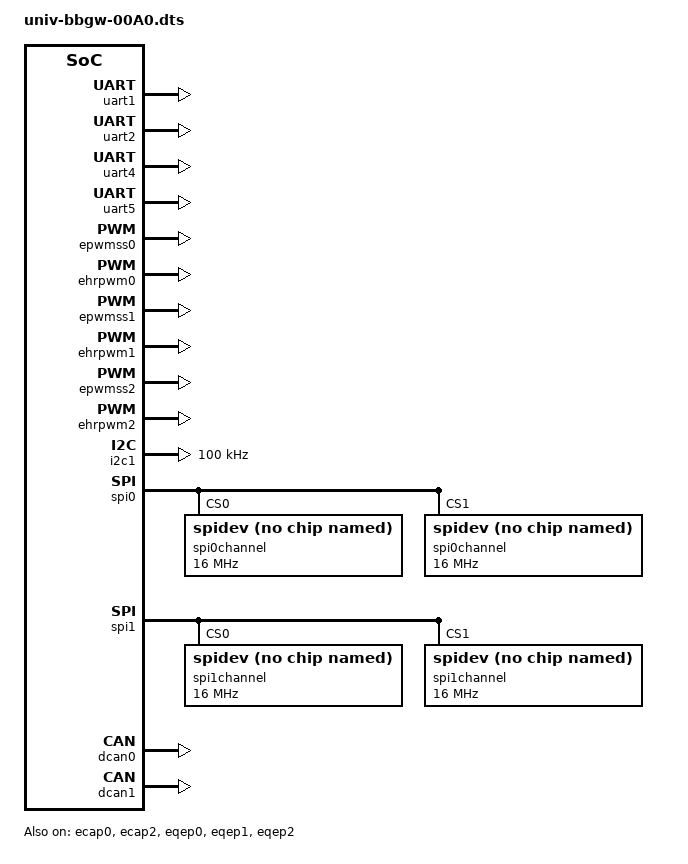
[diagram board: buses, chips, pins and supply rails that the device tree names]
/*
 * Copyright 2013
 * Charles Steinkuehler <charles@steinkuehler.net>
 * Robert Nelson <robertcnelson@gmail.com>
 * 
 * This program is free software; you can redistribute it and/or modify
 * it under the terms of the GNU General Public License as published by
 * the Free Software Foundation; either version 2 of the License, or
 * (at your option) any later version.
 * 
 * This program is distributed in the hope that it will be useful,
 * but WITHOUT ANY WARRANTY; without even the implied warranty of
 * MERCHANTABILITY or FITNESS FOR A PARTICULAR PURPOSE.  See the
 * GNU General Public License for more details.
 * 
 */

#include <dt-bindings/pinctrl/am33xx.h>

/dts-v1/;
/plugin/;

#include "bb-cape-universal.dtsi"

/ {
	compatible = "ti,beaglebone", "ti,beaglebone-black", "ti,beaglebone-green";

	/* identification */
	part-number = "univ-bbgw";
	version = "00A0";

	/* state the resources this cape uses */
	exclusive-use =

		/* "P8.1", GND */
		/* "P8.2", GND */
		/* "P8.3", emmc */
		/* "P8.4", emmc */
		/* "P8.5", emmc */
		/* "P8.6", emmc */
		"P8.7",
		"P8.8",
		"P8.9",
		"P8.10",
		/* "P8.11", */
		/* "P8.12", */
		"P8.13",
		/* "P8.14", */
		/* "P8.15", */
		/* "P8.16", */
		/* "P8.17", */
		/* "P8.18", */
		"P8.19",
		/* "P8.20", emmc */
		/* "P8.21", emmc */
		/* "P8.22", emmc */
		/* "P8.23", emmc */
		/* "P8.24", emmc */
		/* "P8.25", emmc */
		/* "P8.26", */
		"P8.27", /* hdmi */
		"P8.28", /* hdmi */
		"P8.29", /* hdmi */
		"P8.30", /* hdmi */
		"P8.31", /* hdmi */
		"P8.32", /* hdmi */
		"P8.33", /* hdmi */
		"P8.34", /* hdmi */
		"P8.35", /* hdmi */
		"P8.36", /* hdmi */
		"P8.37", /* hdmi */
		"P8.38", /* hdmi */
		"P8.39", /* hdmi */
		"P8.40", /* hdmi */
		"P8.41", /* hdmi */
		"P8.42", /* hdmi */
		"P8.43", /* hdmi */
		"P8.44", /* hdmi */
		"P8.45", /* hdmi */
		"P8.46", /* hdmi */

		/* "P9.1", GND */
		/* "P9.2", GND */
		/* "P9.3", 3.3V */
		/* "P9.4", 3.3V */
		/* "P9.5", VDD_5V */
		/* "P9.6", VDD_5V */
		/* "P9.7", SYS_5V */
		/* "P9.8", SYS_5V */
		/* "P9.9", PWR_BUT */
		/* "P9.10", RESETn */
		"P9.11",
		/* "P9.12", bt_en */
		"P9.13",
		"P9.14",
		"P9.15",
		"P9.16",
		"P9.17",
		"P9.18",
		/* "P9.19", I2C */
		/* "P9.20", I2C */
		"P9.21",
		"P9.22",
		"P9.23",
		"P9.24",
		"P9.25", /* Audio */
		"P9.26",
		"P9.27",
		/* "P9.28", Audio */
		/* "P9.29", Audio */
		/* "P9.30", */
		/* "P9.31", Audio */
		/* "P9.32", VADC */
		/* "P9.33", AIN4 */
		/* "P9.34", AGND */
		/* "P9.35", AIN6 */
		/* "P9.36", AIN5 */
		/* "P9.37", AIN2 */
		/* "P9.38", AIN3 */
		/* "P9.39", AIN0 */
		/* "P9.40", AIN1 */
		"P9.41",
		"P9.41.1",
		"P9.42",
		"P9.42.1",
		/* "P9.43", GND */
		/* "P9.44", GND */
		/* "P9.45", GND */
		/* "P9.46", GND */

		"uart1",
		"uart2",
		"uart4",
		"uart5", /* Conflicts with HDMI */

		"ehrpwm0A",
		"ehrpwm0B",
		"ehrpwm1A",
		"ehrpwm1B",
		"ehrpwm2A",
		"ehrpwm2B",

		"epwmss0",
		"ehrpwm0",
		"ecap0",
		"epwmss1",
		"ehrpwm1",
		"epwmss2",
		"ehrpwm2",
		"ecap2",

		"i2c1",
		"spi1",
		"spi0",
		"dcan0",
		"dcan1",

		"pru0",
		"pru1",
		"pruss";

	/************************/
	/* Pin Multiplexing */
	/************************/

	fragment@1 {
		target = <&ocp>;
		__overlay__ {

			/************************/
			/* P8 Header */
			/************************/

			/* P8_07 (ZCZ ball R7) */
			P8_07_pinmux {
				compatible = "bone-pinmux-helper";
				status = "okay";
				pinctrl-names = "default", "gpio", "gpio_pu", "gpio_pd", "gpio_input", "timer";
				pinctrl-0 = <&P8_07_default_pin>;
				pinctrl-1 = <&P8_07_gpio_pin>;
				pinctrl-2 = <&P8_07_gpio_pu_pin>;
				pinctrl-3 = <&P8_07_gpio_pd_pin>;
				pinctrl-4 = <&P8_07_gpio_input_pin>;
				pinctrl-5 = <&P8_07_timer_pin>;
			};

			/* P8_08 (ZCZ ball T7) */
			P8_08_pinmux {
				compatible = "bone-pinmux-helper";
				status = "okay";
				pinctrl-names = "default", "gpio", "gpio_pu", "gpio_pd", "gpio_input", "timer";
				pinctrl-0 = <&P8_08_default_pin>;
				pinctrl-1 = <&P8_08_gpio_pin>;
				pinctrl-2 = <&P8_08_gpio_pu_pin>;
				pinctrl-3 = <&P8_08_gpio_pd_pin>;
				pinctrl-4 = <&P8_08_gpio_input_pin>;
				pinctrl-5 = <&P8_08_timer_pin>;
			};

			/* P8_09 (ZCZ ball T6) */
			P8_09_pinmux {
				compatible = "bone-pinmux-helper";
				status = "okay";
				pinctrl-names = "default", "gpio", "gpio_pu", "gpio_pd", "gpio_input", "timer";
				pinctrl-0 = <&P8_09_default_pin>;
				pinctrl-1 = <&P8_09_gpio_pin>;
				pinctrl-2 = <&P8_09_gpio_pu_pin>;
				pinctrl-3 = <&P8_09_gpio_pd_pin>;
				pinctrl-4 = <&P8_09_gpio_input_pin>;
				pinctrl-5 = <&P8_09_timer_pin>;
			};

			/* P8_10 (ZCZ ball U6) */
			P8_10_pinmux {
				compatible = "bone-pinmux-helper";
				status = "okay";
				pinctrl-names = "default", "gpio", "gpio_pu", "gpio_pd", "gpio_input", "timer";
				pinctrl-0 = <&P8_10_default_pin>;
				pinctrl-1 = <&P8_10_gpio_pin>;
				pinctrl-2 = <&P8_10_gpio_pu_pin>;
				pinctrl-3 = <&P8_10_gpio_pd_pin>;
				pinctrl-4 = <&P8_10_gpio_input_pin>;
				pinctrl-5 = <&P8_10_timer_pin>;
			};

			/* P8_13 (ZCZ ball T10) */
			P8_13_pinmux {
				compatible = "bone-pinmux-helper";
				status = "okay";
				pinctrl-names = "default", "gpio", "gpio_pu", "gpio_pd", "gpio_input", "pwm";
				pinctrl-0 = <&P8_13_default_pin>;
				pinctrl-1 = <&P8_13_gpio_pin>;
				pinctrl-2 = <&P8_13_gpio_pu_pin>;
				pinctrl-3 = <&P8_13_gpio_pd_pin>;
				pinctrl-4 = <&P8_13_gpio_input_pin>;
				pinctrl-5 = <&P8_13_pwm_pin>;
			};

			/* P8_19 (ZCZ ball U10) */
			P8_19_pinmux {
				compatible = "bone-pinmux-helper";
				status = "okay";
				pinctrl-names = "default", "gpio", "gpio_pu", "gpio_pd", "gpio_input", "pwm";
				pinctrl-0 = <&P8_19_default_pin>;
				pinctrl-1 = <&P8_19_gpio_pin>;
				pinctrl-2 = <&P8_19_gpio_pu_pin>;
				pinctrl-3 = <&P8_19_gpio_pd_pin>;
				pinctrl-4 = <&P8_19_gpio_input_pin>;
				pinctrl-5 = <&P8_19_pwm_pin>;
			};

			/* P8_27 (ZCZ ball U5) hdmi */
			P8_27_pinmux {
				compatible = "bone-pinmux-helper";
				status = "okay";
				pinctrl-names = "default", "gpio", "gpio_pu", "gpio_pd", "gpio_input", "pruout", "pruin";
				pinctrl-0 = <&P8_27_default_pin>;
				pinctrl-1 = <&P8_27_gpio_pin>;
				pinctrl-2 = <&P8_27_gpio_pu_pin>;
				pinctrl-3 = <&P8_27_gpio_pd_pin>;
				pinctrl-4 = <&P8_27_gpio_input_pin>;
				pinctrl-5 = <&P8_27_pruout_pin>;
				pinctrl-6 = <&P8_27_pruin_pin>;
			};

			/* P8_28 (ZCZ ball V5) hdmi */
			P8_28_pinmux {
				compatible = "bone-pinmux-helper";
				status = "okay";
				pinctrl-names = "default", "gpio", "gpio_pu", "gpio_pd", "gpio_input", "pruout", "pruin";
				pinctrl-0 = <&P8_28_default_pin>;
				pinctrl-1 = <&P8_28_gpio_pin>;
				pinctrl-2 = <&P8_28_gpio_pu_pin>;
				pinctrl-3 = <&P8_28_gpio_pd_pin>;
				pinctrl-4 = <&P8_28_gpio_input_pin>;
				pinctrl-5 = <&P8_28_pruout_pin>;
				pinctrl-6 = <&P8_28_pruin_pin>;
			};

			/* P8_29 (ZCZ ball R5) hdmi */
			P8_29_pinmux {
				compatible = "bone-pinmux-helper";
				status = "okay";
				pinctrl-names = "default", "gpio", "gpio_pu", "gpio_pd", "gpio_input", "pruout", "pruin";
				pinctrl-0 = <&P8_29_default_pin>;
				pinctrl-1 = <&P8_29_gpio_pin>;
				pinctrl-2 = <&P8_29_gpio_pu_pin>;
				pinctrl-3 = <&P8_29_gpio_pd_pin>;
				pinctrl-4 = <&P8_29_gpio_input_pin>;
				pinctrl-5 = <&P8_29_pruout_pin>;
				pinctrl-6 = <&P8_29_pruin_pin>;
			};

			/* P8_30 (ZCZ ball R6) hdmi */
			P8_30_pinmux {
				compatible = "bone-pinmux-helper";
				status = "okay";
				pinctrl-names = "default", "gpio", "gpio_pu", "gpio_pd", "gpio_input", "pruout", "pruin";
				pinctrl-0 = <&P8_30_default_pin>;
				pinctrl-1 = <&P8_30_gpio_pin>;
				pinctrl-2 = <&P8_30_gpio_pu_pin>;
				pinctrl-3 = <&P8_30_gpio_pd_pin>;
				pinctrl-4 = <&P8_30_gpio_input_pin>;
				pinctrl-5 = <&P8_30_pruout_pin>;
				pinctrl-6 = <&P8_30_pruin_pin>;
			};

			/* P8_31 (ZCZ ball V4) hdmi */
			P8_31_pinmux {
				compatible = "bone-pinmux-helper";
				status = "okay";
				pinctrl-names = "default", "gpio", "gpio_pu", "gpio_pd", "gpio_input", "uart", "qep";
				pinctrl-0 = <&P8_31_default_pin>;
				pinctrl-1 = <&P8_31_gpio_pin>;
				pinctrl-2 = <&P8_31_gpio_pu_pin>;
				pinctrl-3 = <&P8_31_gpio_pd_pin>;
				pinctrl-4 = <&P8_31_gpio_input_pin>;
				pinctrl-5 = <&P8_31_uart_pin>;
				pinctrl-6 = <&P8_31_qep_pin>;
			};

			/* P8_32 (ZCZ ball T5) hdmi */
			P8_32_pinmux {
				compatible = "bone-pinmux-helper";
				status = "okay";
				pinctrl-names = "default", "gpio", "gpio_pu", "gpio_pd", "gpio_input", "qep";
				pinctrl-0 = <&P8_32_default_pin>;
				pinctrl-1 = <&P8_32_gpio_pin>;
				pinctrl-2 = <&P8_32_gpio_pu_pin>;
				pinctrl-3 = <&P8_32_gpio_pd_pin>;
				pinctrl-4 = <&P8_32_gpio_input_pin>;
				pinctrl-5 = <&P8_32_qep_pin>;
			};

			/* P8_33 (ZCZ ball V3) hdmi */
			P8_33_pinmux {
				compatible = "bone-pinmux-helper";
				status = "okay";
				pinctrl-names = "default", "gpio", "gpio_pu", "gpio_pd", "gpio_input", "qep";
				pinctrl-0 = <&P8_33_default_pin>;
				pinctrl-1 = <&P8_33_gpio_pin>;
				pinctrl-2 = <&P8_33_gpio_pu_pin>;
				pinctrl-3 = <&P8_33_gpio_pd_pin>;
				pinctrl-4 = <&P8_33_gpio_input_pin>;
				pinctrl-5 = <&P8_33_qep_pin>;
			};

			/* P8_34 (ZCZ ball U4) hdmi */
			P8_34_pinmux {
				compatible = "bone-pinmux-helper";
				status = "okay";
				pinctrl-names = "default", "gpio", "gpio_pu", "gpio_pd", "gpio_input", "pwm";
				pinctrl-0 = <&P8_34_default_pin>;
				pinctrl-1 = <&P8_34_gpio_pin>;
				pinctrl-2 = <&P8_34_gpio_pu_pin>;
				pinctrl-3 = <&P8_34_gpio_pd_pin>;
				pinctrl-4 = <&P8_34_gpio_input_pin>;
				pinctrl-5 = <&P8_34_pwm_pin>;
			};

			/* P8_35 (ZCZ ball V2) hdmi */
			P8_35_pinmux {
				compatible = "bone-pinmux-helper";
				status = "okay";
				pinctrl-names = "default", "gpio", "gpio_pu", "gpio_pd", "gpio_input", "qep";
				pinctrl-0 = <&P8_35_default_pin>;
				pinctrl-1 = <&P8_35_gpio_pin>;
				pinctrl-2 = <&P8_35_gpio_pu_pin>;
				pinctrl-3 = <&P8_35_gpio_pd_pin>;
				pinctrl-4 = <&P8_35_gpio_input_pin>;
				pinctrl-5 = <&P8_35_qep_pin>;
			};

			/* P8_36 (ZCZ ball U3) hdmi */
			P8_36_pinmux {
				compatible = "bone-pinmux-helper";
				status = "okay";
				pinctrl-names = "default", "gpio", "gpio_pu", "gpio_pd", "gpio_input", "pwm";
				pinctrl-0 = <&P8_36_default_pin>;
				pinctrl-1 = <&P8_36_gpio_pin>;
				pinctrl-2 = <&P8_36_gpio_pu_pin>;
				pinctrl-3 = <&P8_36_gpio_pd_pin>;
				pinctrl-4 = <&P8_36_gpio_input_pin>;
				pinctrl-5 = <&P8_36_pwm_pin>;
			};

			/* P8_37 (ZCZ ball U1) hdmi */
			P8_37_pinmux {
				compatible = "bone-pinmux-helper";
				status = "okay";
				pinctrl-names = "default", "gpio", "gpio_pu", "gpio_pd", "gpio_input", "uart", "pwm";
				pinctrl-0 = <&P8_37_default_pin>;
				pinctrl-1 = <&P8_37_gpio_pin>;
				pinctrl-2 = <&P8_37_gpio_pu_pin>;
				pinctrl-3 = <&P8_37_gpio_pd_pin>;
				pinctrl-4 = <&P8_37_gpio_input_pin>;
				pinctrl-5 = <&P8_37_uart_pin>;
				pinctrl-6 = <&P8_37_pwm_pin>;
			};

			/* P8_38 (ZCZ ball U2) hdmi */
			P8_38_pinmux {
				compatible = "bone-pinmux-helper";
				status = "okay";
				pinctrl-names = "default", "gpio", "gpio_pu", "gpio_pd", "gpio_input", "uart", "pwm";
				pinctrl-0 = <&P8_38_default_pin>;
				pinctrl-1 = <&P8_38_gpio_pin>;
				pinctrl-2 = <&P8_38_gpio_pu_pin>;
				pinctrl-3 = <&P8_38_gpio_pd_pin>;
				pinctrl-4 = <&P8_38_gpio_input_pin>;
				pinctrl-5 = <&P8_38_uart_pin>;
				pinctrl-6 = <&P8_38_pwm_pin>;
			};

			/* P8_39 (ZCZ ball T3) hdmi */
			P8_39_pinmux {
				compatible = "bone-pinmux-helper";
				status = "okay";
				pinctrl-names = "default", "gpio", "gpio_pu", "gpio_pd", "gpio_input", "qep", "pruout", "pruin";
				pinctrl-0 = <&P8_39_default_pin>;
				pinctrl-1 = <&P8_39_gpio_pin>;
				pinctrl-2 = <&P8_39_gpio_pu_pin>;
				pinctrl-3 = <&P8_39_gpio_pd_pin>;
				pinctrl-4 = <&P8_39_gpio_input_pin>;
				pinctrl-5 = <&P8_39_qep_pin>;
				pinctrl-6 = <&P8_39_pruout_pin>;
				pinctrl-7 = <&P8_39_pruin_pin>;
			};

			/* P8_40 (ZCZ ball T4) hdmi */
			P8_40_pinmux {
				compatible = "bone-pinmux-helper";
				status = "okay";
				pinctrl-names = "default", "gpio", "gpio_pu", "gpio_pd", "gpio_input", "qep", "pruout", "pruin";
				pinctrl-0 = <&P8_40_default_pin>;
				pinctrl-1 = <&P8_40_gpio_pin>;
				pinctrl-2 = <&P8_40_gpio_pu_pin>;
				pinctrl-3 = <&P8_40_gpio_pd_pin>;
				pinctrl-4 = <&P8_40_gpio_input_pin>;
				pinctrl-5 = <&P8_40_qep_pin>;
				pinctrl-6 = <&P8_40_pruout_pin>;
				pinctrl-7 = <&P8_40_pruin_pin>;
			};

			/* P8_41 (ZCZ ball T1) hdmi */
			P8_41_pinmux {
				compatible = "bone-pinmux-helper";
				status = "okay";
				pinctrl-names = "default", "gpio", "gpio_pu", "gpio_pd", "gpio_input", "qep", "pruout", "pruin";
				pinctrl-0 = <&P8_41_default_pin>;
				pinctrl-1 = <&P8_41_gpio_pin>;
				pinctrl-2 = <&P8_41_gpio_pu_pin>;
				pinctrl-3 = <&P8_41_gpio_pd_pin>;
				pinctrl-4 = <&P8_41_gpio_input_pin>;
				pinctrl-5 = <&P8_41_qep_pin>;
				pinctrl-6 = <&P8_41_pruout_pin>;
				pinctrl-7 = <&P8_41_pruin_pin>;
			};

			/* P8_42 (ZCZ ball T2) hdmi */
			P8_42_pinmux {
				compatible = "bone-pinmux-helper";
				status = "okay";
				pinctrl-names = "default", "gpio", "gpio_pu", "gpio_pd", "gpio_input", "qep", "pruout", "pruin";
				pinctrl-0 = <&P8_42_default_pin>;
				pinctrl-1 = <&P8_42_gpio_pin>;
				pinctrl-2 = <&P8_42_gpio_pu_pin>;
				pinctrl-3 = <&P8_42_gpio_pd_pin>;
				pinctrl-4 = <&P8_42_gpio_input_pin>;
				pinctrl-5 = <&P8_42_qep_pin>;
				pinctrl-6 = <&P8_42_pruout_pin>;
				pinctrl-7 = <&P8_42_pruin_pin>;
			};

			/* P8_43 (ZCZ ball R3) hdmi */
			P8_43_pinmux {
				compatible = "bone-pinmux-helper";
				status = "okay";
				pinctrl-names = "default", "gpio", "gpio_pu", "gpio_pd", "gpio_input", "pwm", "pruout", "pruin";
				pinctrl-0 = <&P8_43_default_pin>;
				pinctrl-1 = <&P8_43_gpio_pin>;
				pinctrl-2 = <&P8_43_gpio_pu_pin>;
				pinctrl-3 = <&P8_43_gpio_pd_pin>;
				pinctrl-4 = <&P8_43_gpio_input_pin>;
				pinctrl-5 = <&P8_43_pwm_pin>;
				pinctrl-6 = <&P8_43_pruout_pin>;
				pinctrl-7 = <&P8_43_pruin_pin>;
			};

			/* P8_44 (ZCZ ball R4) hdmi */
			P8_44_pinmux {
				compatible = "bone-pinmux-helper";
				status = "okay";
				pinctrl-names = "default", "gpio", "gpio_pu", "gpio_pd", "gpio_input", "pwm", "pruout", "pruin";
				pinctrl-0 = <&P8_44_default_pin>;
				pinctrl-1 = <&P8_44_gpio_pin>;
				pinctrl-2 = <&P8_44_gpio_pu_pin>;
				pinctrl-3 = <&P8_44_gpio_pd_pin>;
				pinctrl-4 = <&P8_44_gpio_input_pin>;
				pinctrl-5 = <&P8_44_pwm_pin>;
				pinctrl-6 = <&P8_44_pruout_pin>;
				pinctrl-7 = <&P8_44_pruin_pin>;
			};

			/* P8_45 (ZCZ ball R1) hdmi */
			P8_45_pinmux {
				compatible = "bone-pinmux-helper";
				status = "okay";
				pinctrl-names = "default", "gpio", "gpio_pu", "gpio_pd", "gpio_input", "pwm", "pruout", "pruin";
				pinctrl-0 = <&P8_45_default_pin>;
				pinctrl-1 = <&P8_45_gpio_pin>;
				pinctrl-2 = <&P8_45_gpio_pu_pin>;
				pinctrl-3 = <&P8_45_gpio_pd_pin>;
				pinctrl-4 = <&P8_45_gpio_input_pin>;
				pinctrl-5 = <&P8_45_pwm_pin>;
				pinctrl-6 = <&P8_45_pruout_pin>;
				pinctrl-7 = <&P8_45_pruin_pin>;
			};

			/* P8_46 (ZCZ ball R2) hdmi */
			P8_46_pinmux {
				compatible = "bone-pinmux-helper";
				status = "okay";
				pinctrl-names = "default", "gpio", "gpio_pu", "gpio_pd", "gpio_input", "pwm", "pruout", "pruin";
				pinctrl-0 = <&P8_46_default_pin>;
				pinctrl-1 = <&P8_46_gpio_pin>;
				pinctrl-2 = <&P8_46_gpio_pu_pin>;
				pinctrl-3 = <&P8_46_gpio_pd_pin>;
				pinctrl-4 = <&P8_46_gpio_input_pin>;
				pinctrl-5 = <&P8_46_pwm_pin>;
				pinctrl-6 = <&P8_46_pruout_pin>;
				pinctrl-7 = <&P8_46_pruin_pin>;
			};

			/************************/
			/* P9 Header */
			/************************/

			/* P9_01                GND */

			/* P9_02                GND */

			/* P9_03                3V3 */

			/* P9_04                3V3 */

			/* P9_05                VDD_5V */

			/* P9_06                VDD_5V */

			/* P9_07                SYS_5V */

			/* P9_08                SYS_5V */

			/* P9_09                PWR_BUT */

			/* P9_10                RSTn */

			/* P9_11 (ZCZ ball T17) */
			P9_11_pinmux {
				compatible = "bone-pinmux-helper";
				status = "okay";
				pinctrl-names = "default", "gpio", "gpio_pu", "gpio_pd", "gpio_input", "uart";
				pinctrl-0 = <&P9_11_default_pin>;
				pinctrl-1 = <&P9_11_gpio_pin>;
				pinctrl-2 = <&P9_11_gpio_pu_pin>;
				pinctrl-3 = <&P9_11_gpio_pd_pin>;
				pinctrl-4 = <&P9_11_gpio_input_pin>;
				pinctrl-5 = <&P9_11_uart_pin>;
			};

			/* P9_13 (ZCZ ball U17) */
			P9_13_pinmux {
				compatible = "bone-pinmux-helper";
				status = "okay";
				pinctrl-names = "default", "gpio", "gpio_pu", "gpio_pd", "gpio_input", "uart";
				pinctrl-0 = <&P9_13_default_pin>;
				pinctrl-1 = <&P9_13_gpio_pin>;
				pinctrl-2 = <&P9_13_gpio_pu_pin>;
				pinctrl-3 = <&P9_13_gpio_pd_pin>;
				pinctrl-4 = <&P9_13_gpio_input_pin>;
				pinctrl-5 = <&P9_13_uart_pin>;
			};

			/* P9_14 (ZCZ ball U14) */
			P9_14_pinmux {
				compatible = "bone-pinmux-helper";
				status = "okay";
				pinctrl-names = "default", "gpio", "gpio_pu", "gpio_pd", "gpio_input", "pwm";
				pinctrl-0 = <&P9_14_default_pin>;
				pinctrl-1 = <&P9_14_gpio_pin>;
				pinctrl-2 = <&P9_14_gpio_pu_pin>;
				pinctrl-3 = <&P9_14_gpio_pd_pin>;
				pinctrl-4 = <&P9_14_gpio_input_pin>;
				pinctrl-5 = <&P9_14_pwm_pin>;
			};

			/* P9_15 (ZCZ ball R13) */
			P9_15_pinmux {
				compatible = "bone-pinmux-helper";
				status = "okay";
				pinctrl-names = "default", "gpio", "gpio_pu", "gpio_pd", "gpio_input", "pwm";
				pinctrl-0 = <&P9_15_default_pin>;
				pinctrl-1 = <&P9_15_gpio_pin>;
				pinctrl-2 = <&P9_15_gpio_pu_pin>;
				pinctrl-3 = <&P9_15_gpio_pd_pin>;
				pinctrl-4 = <&P9_15_gpio_input_pin>;
				pinctrl-5 = <&P9_15_pwm_pin>;
			};

			/* P9_16 (ZCZ ball T14) */
			P9_16_pinmux {
				compatible = "bone-pinmux-helper";
				status = "okay";
				pinctrl-names = "default", "gpio", "gpio_pu", "gpio_pd", "gpio_input", "pwm";
				pinctrl-0 = <&P9_16_default_pin>;
				pinctrl-1 = <&P9_16_gpio_pin>;
				pinctrl-2 = <&P9_16_gpio_pu_pin>;
				pinctrl-3 = <&P9_16_gpio_pd_pin>;
				pinctrl-4 = <&P9_16_gpio_input_pin>;
				pinctrl-5 = <&P9_16_pwm_pin>;
			};

			/* P9_17 (ZCZ ball A16) */
			P9_17_pinmux {
				compatible = "bone-pinmux-helper";
				status = "okay";
				pinctrl-names = "default", "gpio", "gpio_pu", "gpio_pd", "gpio_input", "spi_cs", "i2c", "pwm", "pru_uart";
				pinctrl-0 = <&P9_17_default_pin>;
				pinctrl-1 = <&P9_17_gpio_pin>;
				pinctrl-2 = <&P9_17_gpio_pu_pin>;
				pinctrl-3 = <&P9_17_gpio_pd_pin>;
				pinctrl-4 = <&P9_17_gpio_input_pin>;
				pinctrl-5 = <&P9_17_spi_cs_pin>;
				pinctrl-6 = <&P9_17_i2c_pin>;
				pinctrl-7 = <&P9_17_pwm_pin>;
				pinctrl-8 = <&P9_17_pru_uart_pin>;
			};

			/* P9_18 (ZCZ ball B16) */
			P9_18_pinmux {
				compatible = "bone-pinmux-helper";
				status = "okay";
				pinctrl-names = "default", "gpio", "gpio_pu", "gpio_pd", "gpio_input", "spi", "i2c", "pwm", "pru_uart";
				pinctrl-0 = <&P9_18_default_pin>;
				pinctrl-1 = <&P9_18_gpio_pin>;
				pinctrl-2 = <&P9_18_gpio_pu_pin>;
				pinctrl-3 = <&P9_18_gpio_pd_pin>;
				pinctrl-4 = <&P9_18_gpio_input_pin>;
				pinctrl-5 = <&P9_18_spi_pin>;
				pinctrl-6 = <&P9_18_i2c_pin>;
				pinctrl-7 = <&P9_18_pwm_pin>;
				pinctrl-8 = <&P9_18_pru_uart_pin>;
			};

			/* Leave the cape I2C EEPROM bus alone */
			/* P9_19 (ZCZ ball D17) I2C */
			/* P9_20 (ZCZ ball D18) I2C */

			/* P9_21 (ZCZ ball B17) */
			P9_21_pinmux {
				compatible = "bone-pinmux-helper";
				status = "okay";
				pinctrl-names = "default", "gpio", "gpio_pu", "gpio_pd", "gpio_input", "spi", "uart", "i2c", "pwm", "pru_uart";
				pinctrl-0 = <&P9_21_default_pin>;
				pinctrl-1 = <&P9_21_gpio_pin>;
				pinctrl-2 = <&P9_21_gpio_pu_pin>;
				pinctrl-3 = <&P9_21_gpio_pd_pin>;
				pinctrl-4 = <&P9_21_gpio_input_pin>;
				pinctrl-5 = <&P9_21_spi_pin>;
				pinctrl-6 = <&P9_21_uart_pin>;
				pinctrl-7 = <&P9_21_i2c_pin>;
				pinctrl-8 = <&P9_21_pwm_pin>;
				pinctrl-9 = <&P9_21_pru_uart_pin>;
			};

			/* P9_22 (ZCZ ball A17) */
			P9_22_pinmux {
				compatible = "bone-pinmux-helper";
				status = "okay";
				pinctrl-names = "default", "gpio", "gpio_pu", "gpio_pd", "gpio_input", "spi_sclk", "uart", "i2c", "pwm", "pru_uart";
				pinctrl-0 = <&P9_22_default_pin>;
				pinctrl-1 = <&P9_22_gpio_pin>;
				pinctrl-2 = <&P9_22_gpio_pu_pin>;
				pinctrl-3 = <&P9_22_gpio_pd_pin>;
				pinctrl-4 = <&P9_22_gpio_input_pin>;
				pinctrl-5 = <&P9_22_spi_sclk_pin>;
				pinctrl-6 = <&P9_22_uart_pin>;
				pinctrl-7 = <&P9_22_i2c_pin>;
				pinctrl-8 = <&P9_22_pwm_pin>;
				pinctrl-9 = <&P9_22_pru_uart_pin>;
			};

			/* P9_23 (ZCZ ball V14) */
			P9_23_pinmux {
				compatible = "bone-pinmux-helper";
				status = "okay";
				pinctrl-names = "default", "gpio", "gpio_pu", "gpio_pd", "gpio_input", "pwm";
				pinctrl-0 = <&P9_23_default_pin>;
				pinctrl-1 = <&P9_23_gpio_pin>;
				pinctrl-2 = <&P9_23_gpio_pu_pin>;
				pinctrl-3 = <&P9_23_gpio_pd_pin>;
				pinctrl-4 = <&P9_23_gpio_input_pin>;
				pinctrl-5 = <&P9_23_pwm_pin>;
			};

			/* P9_24 (ZCZ ball D15) */
			P9_24_pinmux {
				compatible = "bone-pinmux-helper";
				status = "okay";
				pinctrl-names = "default", "gpio", "gpio_pu", "gpio_pd", "gpio_input", "uart", "can", "i2c", "pru_uart", "pruin";
				pinctrl-0 = <&P9_24_default_pin>;
				pinctrl-1 = <&P9_24_gpio_pin>;
				pinctrl-2 = <&P9_24_gpio_pu_pin>;
				pinctrl-3 = <&P9_24_gpio_pd_pin>;
				pinctrl-4 = <&P9_24_gpio_input_pin>;
				pinctrl-5 = <&P9_24_uart_pin>;
				pinctrl-6 = <&P9_24_can_pin>;
				pinctrl-7 = <&P9_24_i2c_pin>;
				pinctrl-8 = <&P9_24_pru_uart_pin>;
				pinctrl-9 = <&P9_24_pruin_pin>;
			};

			/* P9_25 (ZCZ ball A14) audio */
			P9_25_pinmux {
				compatible = "bone-pinmux-helper";
				status = "okay";
				pinctrl-names = "default", "gpio", "gpio_pu", "gpio_pd", "gpio_input", "qep", "pruout", "pruin";
				pinctrl-0 = <&P9_25_default_pin>;
				pinctrl-1 = <&P9_25_gpio_pin>;
				pinctrl-2 = <&P9_25_gpio_pu_pin>;
				pinctrl-3 = <&P9_25_gpio_pd_pin>;
				pinctrl-4 = <&P9_25_gpio_input_pin>;
				pinctrl-5 = <&P9_25_qep_pin>;
				pinctrl-6 = <&P9_25_pruout_pin>;
				pinctrl-7 = <&P9_25_pruin_pin>;
			};

			/* P9_26 (ZCZ ball D16) */
			P9_26_pinmux {
				compatible = "bone-pinmux-helper";
				status = "okay";
				pinctrl-names = "default", "gpio", "gpio_pu", "gpio_pd", "gpio_input", "uart", "can", "i2c", "pru_uart", "pruin";
				pinctrl-0 = <&P9_26_default_pin>;
				pinctrl-1 = <&P9_26_gpio_pin>;
				pinctrl-2 = <&P9_26_gpio_pu_pin>;
				pinctrl-3 = <&P9_26_gpio_pd_pin>;
				pinctrl-4 = <&P9_26_gpio_input_pin>;
				pinctrl-5 = <&P9_26_uart_pin>;
				pinctrl-6 = <&P9_26_can_pin>;
				pinctrl-7 = <&P9_26_i2c_pin>;
				pinctrl-8 = <&P9_26_pru_uart_pin>;
				pinctrl-9 = <&P9_26_pruin_pin>;
			};

			/* P9_27 (ZCZ ball C13) */
			P9_27_pinmux {
				compatible = "bone-pinmux-helper";
				status = "okay";
				pinctrl-names = "default", "gpio", "gpio_pu", "gpio_pd", "gpio_input", "qep", "pruout", "pruin";
				pinctrl-0 = <&P9_27_default_pin>;
				pinctrl-1 = <&P9_27_gpio_pin>;
				pinctrl-2 = <&P9_27_gpio_pu_pin>;
				pinctrl-3 = <&P9_27_gpio_pd_pin>;
				pinctrl-4 = <&P9_27_gpio_input_pin>;
				pinctrl-5 = <&P9_27_qep_pin>;
				pinctrl-6 = <&P9_27_pruout_pin>;
				pinctrl-7 = <&P9_27_pruin_pin>;
			};

			/* P9_32                VADC */

			/* P9_33 (ZCZ ball C8)  AIN4         */

			/* P9_34                AGND */

			/* P9_35 (ZCZ ball A8)  AIN6         */

			/* P9_36 (ZCZ ball B8)  AIN5         */

			/* P9_37 (ZCZ ball B7)  AIN2         */

			/* P9_38 (ZCZ ball A7)  AIN3         */

			/* P9_39 (ZCZ ball B6)  AIN0         */

			/* P9_40 (ZCZ ball C7)  AIN1         */

			/* P9_41 (ZCZ ball D14) */
			P9_41_pinmux {
				compatible = "bone-pinmux-helper";
				status = "okay";
				pinctrl-names = "default", "gpio", "gpio_pu", "gpio_pd", "gpio_input", "timer", "pruin";
				pinctrl-0 = <&P9_41_default_pin>;
				pinctrl-1 = <&P9_41_gpio_pin>;
				pinctrl-2 = <&P9_41_gpio_pu_pin>;
				pinctrl-3 = <&P9_41_gpio_pd_pin>;
				pinctrl-4 = <&P9_41_gpio_input_pin>;
				pinctrl-5 = <&P9_41_timer_pin>;
				pinctrl-6 = <&P9_41_pruin_pin>;
			};

			/* P9_41.1 */
			/* P9_91 (ZCZ ball D13) */
			P9_91_pinmux {
				compatible = "bone-pinmux-helper";
				status = "okay";
				pinctrl-names = "default", "gpio", "gpio_pu", "gpio_pd", "gpio_input", "qep", "pruout", "pruin";
				pinctrl-0 = <&P9_91_default_pin>;
				pinctrl-1 = <&P9_91_gpio_pin>;
				pinctrl-2 = <&P9_91_gpio_pu_pin>;
				pinctrl-3 = <&P9_91_gpio_pd_pin>;
				pinctrl-4 = <&P9_91_gpio_input_pin>;
				pinctrl-5 = <&P9_91_qep_pin>;
				pinctrl-6 = <&P9_91_pruout_pin>;
				pinctrl-7 = <&P9_91_pruin_pin>;
			};

			/* P9_42 (ZCZ ball C18) */
			P9_42_pinmux {
				compatible = "bone-pinmux-helper";
				status = "okay";
				pinctrl-names = "default", "gpio", "gpio_pu", "gpio_pd", "gpio_input", "spi_cs", "spi_sclk", "uart", "pwm", "pru_ecap";
				pinctrl-0 = <&P9_42_default_pin>;
				pinctrl-1 = <&P9_42_gpio_pin>;
				pinctrl-2 = <&P9_42_gpio_pu_pin>;
				pinctrl-3 = <&P9_42_gpio_pd_pin>;
				pinctrl-4 = <&P9_42_gpio_input_pin>;
				pinctrl-5 = <&P9_42_spi_cs_pin>;
				pinctrl-6 = <&P9_42_spi_sclk_pin>;
				pinctrl-7 = <&P9_42_uart_pin>;
				pinctrl-8 = <&P9_42_pwm_pin>;
				pinctrl-9 = <&P9_42_pru_ecap_pin>;
			};

			/* P9_42.1 */
			/* P9_92 (ZCZ ball B12) */
			P9_92_pinmux {
				compatible = "bone-pinmux-helper";
				status = "okay";
				pinctrl-names = "default", "gpio", "gpio_pu", "gpio_pd", "gpio_input", "qep", "pruout", "pruin";
				pinctrl-0 = <&P9_92_default_pin>;
				pinctrl-1 = <&P9_92_gpio_pin>;
				pinctrl-2 = <&P9_92_gpio_pu_pin>;
				pinctrl-3 = <&P9_92_gpio_pd_pin>;
				pinctrl-4 = <&P9_92_gpio_input_pin>;
				pinctrl-5 = <&P9_92_qep_pin>;
				pinctrl-6 = <&P9_92_pruout_pin>;
				pinctrl-7 = <&P9_92_pruin_pin>;
			};

			/* P9_43                GND */

			/* P9_44                GND */

			/* P9_45                GND */

			/* P9_46                GND */
		};
	};

	fragment@2 {
		target = <&ocp>;
		__overlay__ {
			cape-universal {
				compatible = "gpio-of-helper";
				status = "okay";
				pinctrl-names = "default";
				pinctrl-0 = <>;

				P8_07 {
					gpio-name = "P8_07";
					gpio = <&gpio2 2 0>;
					input;
					dir-changeable;
				};

				P8_08 {
					gpio-name = "P8_08";
					gpio = <&gpio2 3 0>;
					input;
					dir-changeable;
				};

				P8_09 {
					gpio-name = "P8_09";
					gpio = <&gpio2 5 0>;
					input;
					dir-changeable;
				};

				P8_10 {
					gpio-name = "P8_10";
					gpio = <&gpio2 4 0>;
					input;
					dir-changeable;
				};

				P8_13 {
					gpio-name = "P8_13";
					gpio = <&gpio0 23 0>;
					input;
					dir-changeable;
				};

				P8_19 {
					gpio-name = "P8_19";
					gpio = <&gpio0 22 0>;
					input;
					dir-changeable;
				};

				P8_27 {
					gpio-name = "P8_27";
					gpio = <&gpio2 22 0>;
					input;
					dir-changeable;
				};

				P8_28 {
					gpio-name = "P8_28";
					gpio = <&gpio2 24 0>;
					input;
					dir-changeable;
				};

				P8_29 {
					gpio-name = "P8_29";
					gpio = <&gpio2 23 0>;
					input;
					dir-changeable;
				};

				P8_30 {
					gpio-name = "P8_30";
					gpio = <&gpio2 25 0>;
					input;
					dir-changeable;
				};

				P8_31 {
					gpio-name = "P8_31";
					gpio = <&gpio0 10 0>;
					input;
					dir-changeable;
				};

				P8_32 {
					gpio-name = "P8_32";
					gpio = <&gpio0 11 0>;
					input;
					dir-changeable;
				};

				P8_33 {
					gpio-name = "P8_33";
					gpio = <&gpio0 9 0>;
					input;
					dir-changeable;
				};

				P8_34 {
					gpio-name = "P8_34";
					gpio = <&gpio2 17 0>;
					input;
					dir-changeable;
				};

				P8_35 {
					gpio-name = "P8_35";
					gpio = <&gpio0 8 0>;
					input;
					dir-changeable;
				};

				P8_36 {
					gpio-name = "P8_36";
					gpio = <&gpio2 16 0>;
					input;
					dir-changeable;
				};

				P8_37 {
					gpio-name = "P8_37";
					gpio = <&gpio2 14 0>;
					input;
					dir-changeable;
				};

				P8_38 {
					gpio-name = "P8_38";
					gpio = <&gpio2 15 0>;
					input;
					dir-changeable;
				};

				P8_39 {
					gpio-name = "P8_39";
					gpio = <&gpio2 12 0>;
					input;
					dir-changeable;
				};

				P8_40 {
					gpio-name = "P8_40";
					gpio = <&gpio2 13 0>;
					input;
					dir-changeable;
				};

				P8_41 {
					gpio-name = "P8_41";
					gpio = <&gpio2 10 0>;
					input;
					dir-changeable;
				};

				P8_42 {
					gpio-name = "P8_42";
					gpio = <&gpio2 11 0>;
					input;
					dir-changeable;
				};

				P8_43 {
					gpio-name = "P8_43";
					gpio = <&gpio2 8 0>;
					input;
					dir-changeable;
				};

				P8_44 {
					gpio-name = "P8_44";
					gpio = <&gpio2 9 0>;
					input;
					dir-changeable;
				};

				P8_45 {
					gpio-name = "P8_45";
					gpio = <&gpio2 6 0>;
					input;
					dir-changeable;
				};

				P8_46 {
					gpio-name = "P8_46";
					gpio = <&gpio2 7 0>;
					input;
					dir-changeable;
				};

				P9_11 {
					gpio-name = "P9_11";
					gpio = <&gpio0 30 0>;
					input;
					dir-changeable;
				};

				P9_13 {
					gpio-name = "P9_13";
					gpio = <&gpio0 31 0>;
					input;
					dir-changeable;
				};

				P9_14 {
					gpio-name = "P9_14";
					gpio = <&gpio1 18 0>;
					input;
					dir-changeable;
				};

				P9_15 {
					gpio-name = "P9_15";
					gpio = <&gpio1 16 0>;
					input;
					dir-changeable;
				};

				P9_16 {
					gpio-name = "P9_16";
					gpio = <&gpio1 19 0>;
					input;
					dir-changeable;
				};

				P9_17 {
					gpio-name = "P9_17";
					gpio = <&gpio0 5 0>;
					input;
					dir-changeable;
				};

				P9_18 {
					gpio-name = "P9_18";
					gpio = <&gpio0 4 0>;
					input;
					dir-changeable;
				};

				P9_21 {
					gpio-name = "P9_21";
					gpio = <&gpio0 3 0>;
					input;
					dir-changeable;
				};

				P9_22 {
					gpio-name = "P9_22";
					gpio = <&gpio0 2 0>;
					input;
					dir-changeable;
				};

				P9_23 {
					gpio-name = "P9_23";
					gpio = <&gpio1 17 0>;
					input;
					dir-changeable;
				};

				P9_24 {
					gpio-name = "P9_24";
					gpio = <&gpio0 15 0>;
					input;
					dir-changeable;
				};

				P9_25 {
					gpio-name = "P9_25";
					gpio = <&gpio3 21 0>;
					input;
					dir-changeable;
				};

				P9_26 {
					gpio-name = "P9_26";
					gpio = <&gpio0 14 0>;
					input;
					dir-changeable;
				};

				P9_27 {
					gpio-name = "P9_27";
					gpio = <&gpio3 19 0>;
					input;
					dir-changeable;
				};

				P9_41 {
					gpio-name = "P9_41";
					gpio = <&gpio0 20 0>;
					input;
					dir-changeable;
				};

				P9_91 {
					gpio-name = "P9_91";
					gpio = <&gpio3 20 0>;
					input;
					dir-changeable;
				};

				P9_42 {
					gpio-name = "P9_42";
					gpio = <&gpio0 7 0>;
					input;
					dir-changeable;
				};

				P9_92 {
					gpio-name = "P9_92";
					gpio = <&gpio3 18 0>;
					input;
					dir-changeable;
				};
			};
		};
	};

	/************************/
	/* UARTs */
	/************************/

	fragment@10 {
		target = <&uart1>;
		__overlay__ {
			status = "okay";
			pinctrl-names = "default";
			pinctrl-0 = <>;
		};
	};

	fragment@11 {
		target = <&uart2>;
		__overlay__ {
			status = "okay";
			pinctrl-names = "default";
			pinctrl-0 = <>;
		};
	};

	fragment@12 {
		target = <&uart4>;
		__overlay__ {
			status = "okay";
			pinctrl-names = "default";
			pinctrl-0 = <>;
		};
	};

	/* UART 5 only available on LCD/HDMI pins */
	fragment@13 {
		target = <&uart5>;
		__overlay__ {
			status = "okay";
			pinctrl-names = "default";
			pinctrl-0 = <>;
		};
	};

	/************************/
	/* Timers / PWM */
	/************************/

	fragment@20 {
		target = <&epwmss0>;
		__overlay__ {
			status = "okay";
		};
	};

	fragment@21 {
		target = <&ehrpwm0>;
		__overlay__ {
			status = "okay";
			pinctrl-names = "default";
			pinctrl-0 = <>;
		};
	};

	fragment@22 {
		target = <&ecap0>;
		__overlay__ {
			status = "okay";
			pinctrl-names = "default";
			pinctrl-0 = <>;
		};
	};

	fragment@23 {
		target = <&epwmss1>;
		__overlay__ {
			status = "okay";
		};
	};

	fragment@24 {
		target = <&ehrpwm1>;
		__overlay__ {
			status = "okay";
			pinctrl-names = "default";
			pinctrl-0 = <>;
		};
	};

	fragment@25 {
		target = <&epwmss2>;
		__overlay__ {
			status = "okay";
		};
	};

	fragment@26 {
		target = <&ehrpwm2>;
		__overlay__ {
			status = "okay";
			pinctrl-names = "default";
			pinctrl-0 = <>;
		};
	};

	fragment@27 {
		target = <&ecap2>;
		__overlay__ {
			status = "okay";
			pinctrl-names = "default";
			pinctrl-0 = <>;
		};
	};

	/************************/
	/* I2C / SPI */
	/************************/

	fragment@30 {
		target = <&i2c1>; /* i2c1 is numbered correctly */
		__overlay__ {
			status = "okay";
			pinctrl-names = "default";
			pinctrl-0 = <>; 

			/* this is the configuration part */
			clock-frequency = <100000>;

			#address-cells = <1>;
			#size-cells = <0>;

			/* add any i2c devices on the bus here */

			// commented out example of a touchscreen (taken from BB-BONE-LCD7-01-00A4) */
			// maxtouch@4a {
			// compatible = "mXT224";
			// reg = <0x4a>;
			// interrupt-parent = <&gpio3>;
			// interrupts = <19 0x0>;
			// atmel,irq-gpio = <&gpio3 19 0>;
			// };
		};
	};

	fragment@31 {
		target = <&spi0>;
		__overlay__ {
			#address-cells = <1>;
			#size-cells = <0>;

			status = "okay";
			pinctrl-names = "default";
			pinctrl-0 = <>; 

			spi0channel@0 {
				#address-cells = <1>;
				#size-cells = <0>;

				compatible = "spidev";

				reg = <0>;
				spi-max-frequency = <16000000>;
				spi-cpha;
			};


			spi0channel@1 {
				#address-cells = <1>;
				#size-cells = <0>;

				compatible = "spidev";

				reg = <1>;
				spi-max-frequency = <16000000>;
			};
		};
	};

	fragment@32 {
		target = <&spi1>;
		__overlay__ {
			status = "okay";
			pinctrl-names = "default";
			pinctrl-0 = <>; 

			#address-cells = <1>;
			#size-cells = <0>;

			spi1channel@0 {
				#address-cells = <1>;
				#size-cells = <0>;

				compatible = "spidev";

				reg = <0>;
				spi-max-frequency = <16000000>;
				spi-cpha;
			};

			spi1channel@1 {
				#address-cells = <1>;
				#size-cells = <0>;

				compatible = "spidev";

				reg = <1>;
				spi-max-frequency = <16000000>;
			};
		};
	};

	fragment@33 {
		target = <&dcan0>;
		__overlay__ {
			status = "okay";
			pinctrl-names = "default";
			pinctrl-0 = <>;
		};
	};

	fragment@34 {
		target = <&dcan1>;
		__overlay__ {
			status = "okay";
			pinctrl-names = "default";
			pinctrl-0 = <>;
		};
	};

	/************************/
	/* PRUSS */
	/************************/

	fragment@40 {
		target-path="/";
		__overlay__ {

			ocp {
				#address-cells = <1>;
				#size-cells = <1>;

				pruss: pruss@4a300000 {
					status = "okay";
				};
			};
		};
	};

	/************************/
	/* eQEP */
	/************************/

	fragment@50 {
		target = <&eqep0>;
		__overlay__ {
			pinctrl-names = "default";
			pinctrl-0 = <>;

			count_mode = <0>; /* 0 - Quadrature mode, normal 90 phase offset cha & chb. 1 - Direction mode. cha input = clock, chb input = direction */
			swap_inputs = <0>; /* Are channel A and channel B swapped? (0 - no, 1 - yes) */
			invert_qa = <1>; /* Should we invert the channel A input? */
			invert_qb = <1>; /* Should we invert the channel B input? I invert these because my encoder outputs drive transistors that pull down the pins */
			invert_qi = <0>; /* Should we invert the index input? */
			invert_qs = <0>; /* Should we invert the strobe input? */

		status = "okay";
		};
	};

	fragment@51 {
		target = <&eqep1>;
		__overlay__ {
			pinctrl-names = "default";
			pinctrl-0 = <>;

			count_mode = <0>; /* 0 - Quadrature mode, normal 90 phase offset cha & chb. 1 - Direction mode. cha input = clock, chb input = direction */
			swap_inputs = <0>; /* Are channel A and channel B swapped? (0 - no, 1 - yes) */
			invert_qa = <1>; /* Should we invert the channel A input? */
			invert_qb = <1>; /* Should we invert the channel B input? I invert these because my encoder outputs drive transistors that pull down the pins */
			invert_qi = <0>; /* Should we invert the index input? */
			invert_qs = <0>; /* Should we invert the strobe input? */

		status = "okay";
		};
	};

	fragment@52 {
		target = <&eqep2>;
		__overlay__ {
			pinctrl-names = "default";
			pinctrl-0 = <>;

			count_mode = <0>; /* 0 - Quadrature mode, normal 90 phase offset cha & chb. 1 - Direction mode. cha input = clock, chb input = direction */
			swap_inputs = <0>; /* Are channel A and channel B swapped? (0 - no, 1 - yes) */
			invert_qa = <1>; /* Should we invert the channel A input? */
			invert_qb = <1>; /* Should we invert the channel B input? I invert these because my encoder outputs drive transistors that pull down the pins */
			invert_qi = <0>; /* Should we invert the index input? */
			invert_qs = <0>; /* Should we invert the strobe input? */

		status = "okay";
		};
	};
};
